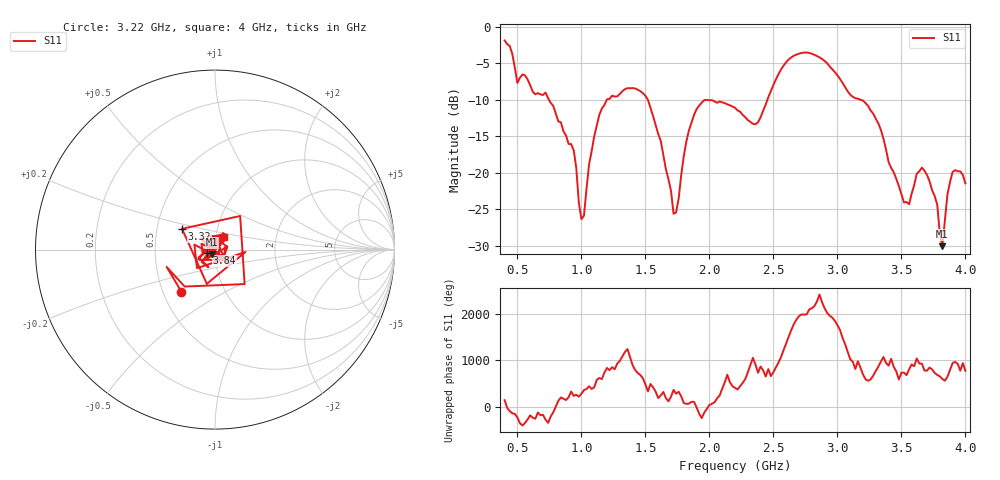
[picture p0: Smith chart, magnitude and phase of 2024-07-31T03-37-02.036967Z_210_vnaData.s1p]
!Created with skrf (http://scikit-rf.org).
# Hz S RI R 50.0
!freq ReS11 ImS11
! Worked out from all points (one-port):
!   181 points, 400 MHz to 4 GHz, reference 50 ohm
!   lowest |S11| = -30.1 dB at 3.82 GHz (marker M1), VSWR 1.06, Z = 48.3 - j2.59 ohm
!   |S11| at or under -10 dB: 745.7 MHz to 1.199 GHz (453.1 MHz wide, 46.6 % of centre); 1.519 GHz to 2.454 GHz (934.8 MHz wide, 47.1 % of centre); 3.18 GHz to end of sweep
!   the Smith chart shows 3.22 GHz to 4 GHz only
!   S11 on the Smith chart (normalised r, x): 3.22 GHz: 0.62, -0.32; 3.32 GHz: 0.67, +0.16; 3.84 GHz: 0.92, -0.03; 4 GHz: 1.09, +0.15
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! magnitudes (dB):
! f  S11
! 400 MHz  -1.9
! 500 MHz  -7.7
! 720 MHz  -9.0
! 860 MHz  -14.3
! 940 MHz  -16.9
! 1 GHz  -26.4
! 1.14 GHz  -12.1
! 1.3 GHz  -9.2
! 1.52 GHz  -10.0
! 1.62 GHz  -15.7
! 1.72 GHz  -25.6
! 1.76 GHz  -23.5
! 1.82 GHz  -15.7
! 1.9 GHz  -11.3
! 2.2 GHz  -11.1
! 2.38 GHz  -13.1
! 2.66 GHz  -4.0
! 2.88 GHz  -4.4
! 3.1 GHz  -9.3
! 3.22 GHz  -10.5
! 3.32 GHz  -13.3
! 3.56 GHz  -24.3
! 3.68 GHz  -19.7
! 3.78 GHz  -24.4
! 3.82 GHz  -30.1
! 3.84 GHz  -26.5
! 3.9 GHz  -19.9
! 4 GHz  -21.5
